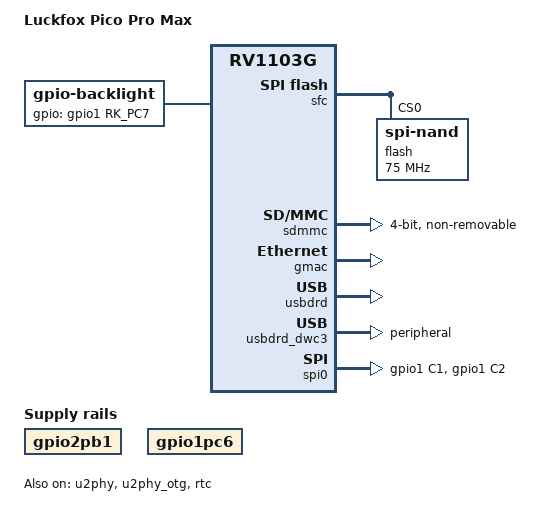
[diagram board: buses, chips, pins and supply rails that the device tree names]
// SPDX-License-Identifier: (GPL-2.0+ OR MIT)
/*
 * Copyright (c) 2022 Rockchip Electronics Co., Ltd.
 */

/dts-v1/;

#include "rv1106.dtsi"
#include "rv1106-evb.dtsi"
#include "rv1106-luckfox-pico-pro-max-ipc.dtsi"

/ {
	model = "Luckfox Pico Pro Max";
	compatible = "rockchip,rv1103g-38x38-ipc-v10", "rockchip,rv1106g3";

	backlight:backlight{		
		compatible = "gpio-backlight";
		pinctrl-names = "default";
		pinctrl-0 = <&gpio1_pc7>;
		gpios = <&gpio1 RK_PC7 GPIO_ACTIVE_HIGH>;
		default-on;
	};
 
	/*LCD_DC*/
    gpio2pb1:gpio2pb1 {
        compatible = "regulator-fixed";
        pinctrl-names = "default";
        pinctrl-0 = <&gpio2_pb1>;
        regulator-name = "gpio2_pb1";
        regulator-always-on;
    };
 
	/*LCD_RES*/
    gpio1pc6:gpio1pc6 {
        compatible = "regulator-fixed";
        pinctrl-names = "default";
        pinctrl-0 = <&gpio1_pc6>;
        regulator-name = "gpio1_pc6";
        regulator-always-on;
    };

};

&pinctrl {
 
 
	/*LCD_BL*/
	gpio1-pc7 {
		gpio1_pc7:gpio1-pc7 {
			rockchip,pins =	<1 RK_PC7 RK_FUNC_GPIO &pcfg_pull_none>;
		};
	};
 
	/*LCD_DC*/
    gpio2-pb1 {
        gpio2_pb1:gpio2-pb1 {
            rockchip,pins = <2 RK_PB1 RK_FUNC_GPIO &pcfg_pull_none>;
        };
    };
 
	/*LCD_RES*/
    gpio1-pc6 {
        gpio1_pc6:gpio1-pc6 {
            rockchip,pins = <1 RK_PC6 RK_FUNC_GPIO &pcfg_pull_none>;
        };
    };
 
    spi0 {
        /omit-if-no-ref/
        spi0m0_pins: spi0m0-pins {
            rockchip,pins =
                /* spi0_clk_m0 */
                <1 RK_PC1 4 &pcfg_pull_none>,
                /* spie_miso_m0 */
                /* <1 RK_PC3 6 &pcfg_pull_none>, */	// 先不动，还用uart4作为bl
                /* spi_mosi_m0 */
                <1 RK_PC2 6 &pcfg_pull_none>;
        };
    };
};


/**********CRU**********/
//&cru {
//	assigned-clocks =
//		<&cru PLL_GPLL>, <&cru PLL_CPLL>,
//		<&cru ARMCLK>,
//		<&cru ACLK_PERI_ROOT>, <&cru HCLK_PERI_ROOT>,
//		<&cru PCLK_PERI_ROOT>, <&cru ACLK_BUS_ROOT>,
//		<&cru PCLK_TOP_ROOT>, <&cru PCLK_PMU_ROOT>,
//		<&cru HCLK_PMU_ROOT>, <&cru CLK_500M_SRC>;
//	assigned-clock-rates =
//		<1188000000>, <700000000>,
//		<1104000000>,
//		<400000000>, <200000000>,
//		<100000000>, <300000000>,
//		<100000000>, <100000000>,
//		<200000000>, <700000000>;
//};

/**********NPU**********/
//&npu {
//	assigned-clock-rates = <700000000>;
//};

/**********FLASH**********/
&sfc {
	status = "okay";
	flash@0 {
		compatible = "spi-nand";
		reg = <0>;
		spi-max-frequency = <75000000>;
		spi-rx-bus-width = <4>;
		spi-tx-bus-width = <1>;
	};
};

/**********SDMMC**********/
&sdmmc {
	max-freqency = <50000000>;
	no-mmc;
	bus-width = <4>;
	cap-mmc-highspeed;
	cap-sd-highspeed;
	disable-wp;

	//sdio
	cap-sdio-irq;
	non-removable;
	no-1-8-v;
	supports-sdio;

	pinctrl-names = "default";
	pinctrl-0 = <&sdmmc0_clk &sdmmc0_cmd &sdmmc0_det &sdmmc0_bus4>;
	status = "okay";
};

/**********ETH**********/
&gmac {
	status = "okay";
};

/**********USB**********/
&u2phy {
	status = "okay";
};

&u2phy_otg {
	rockchip,dis-u2-susphy;
	status = "okay";
};

&usbdrd {
	status = "okay";
};

&usbdrd_dwc3 {
	status = "okay";
	dr_mode = "peripheral";
};

/**********SPI**********/
&spi0 {
	status = "okay";
	pinctrl-names = "default";
	// pinctrl-0 = <&spi0m0_pins>;		// 包含clk,mi,mo
	pinctrl-0 = <&spi0m0_cs0 &spi0m0_pins>;
	spidev@0 {
		status = "disabled";
		spi-max-frequency = <50000000>;
	};
//	fbtft@0 {
//		status = "okay";
//		spi-max-frequency = <50000000>;
//	};
};

/**********I2C**********/
/* I2C3_M1 */
&i2c3 {
	status = "disabled";
	pinctrl-0 = <&i2c3m1_xfer>;
	clock-frequency = <400000>;
    pinctrl-names = "default";
	focaltech@0 {
		status = "okay";
		compatible = "focaltech,fts"; // 兼容字符串，内核会根据它找到驱动
        reg = <0x38>; // I2C 设备地址

        // 中断配置
        interrupt-parent = <&gpio2>; // 中断父设备是 GPIO2
        interrupts = <&gpio2 RK_PA2 IRQ_TYPE_LEVEL_LOW>; // 连接到 GPIO0_A2 (即 GPIO2)，低电平触发
		focaltech,irq-gpio = <&gpio2 RK_PA2 IRQ_TYPE_LEVEL_LOW>;
		//复位引脚
		focaltech,reset-gpio = <&gpio1 RK_PC5 GPIO_ACTIVE_LOW>;	// 连接到 GPIO1_C5 (即 GPIO53)，低电平有效

		reset-delay-ms = <200>;

		focaltech,max-touch-number = <5>;
        focaltech,display-coords =  <0 0 240 320>;

	};
};

/* I2C1_M1 */
&i2c1 {
	status = "disabled";
	clock-frequency = <100000>;
};


/**********UART**********/
/* UART3_M1 */
&uart3 {
	status = "disabled";
};

/* UART4_M1 */
&uart4 {
	status = "disabled";
};

/**********RTC**********/
&rtc {
	status = "okay";
};
